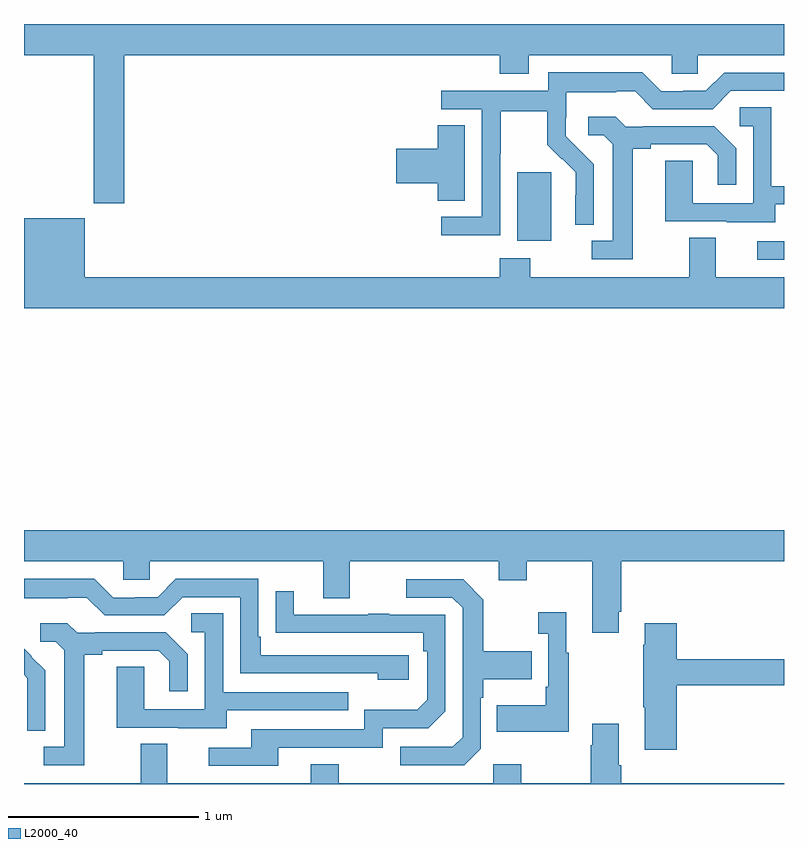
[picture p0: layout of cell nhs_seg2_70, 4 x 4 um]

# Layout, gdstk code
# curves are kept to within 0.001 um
import gdstk
lib = gdstk.Library(unit=1e-6, precision=1e-09)
def R(c, l, rs):  # rectangles x0, y0, x1, y1
    for r in rs: c.add(gdstk.rectangle(r[:2], r[2:], *l))
def P(c, l, *ps):  # polygons
    for p in ps: c.add(gdstk.Polygon(p, *l))
L2000_40 = (2000, 40)

nhs_seg2_70 = lib.new_cell('nhs_seg2_70')
R(nhs_seg2_70, L2000_40, [(116.859,646.56,117,646.656), (115.595,646.658,115.774,647.019)])
P(nhs_seg2_70, L2000_40, [(113.528,647.636),(115.505,647.636),(115.505,647.537),(115.657,647.537),(115.657,647.636),(116.409,647.636),(116.409,647.538),(116.547,647.538),(116.547,647.636),(117,647.636),(117,647.8),(113,647.8),(113,647.636),(113.368,647.636),(113.368,646.857),(113.528,646.857)],
  [(115.506,647.116),(115.509,647.116),(115.509,647.34),(115.753,647.34),(115.753,647.165),(115.83,647.088),(115.833,647.091),(115.904,647.021),(115.904,646.898),(115.902,646.898),(115.902,646.744),(115.998,646.744),(115.998,647.062),(115.852,647.21),(115.852,647.307),(115.854,647.307),(115.854,647.441),(116.117,647.441),(116.117,647.445),(116.217,647.445),(116.31,647.352),(116.625,647.352),(116.721,647.448),(117,647.448),(117,647.544),(116.685,647.544),(116.589,647.448),(116.471,647.448),(116.471,647.445),(116.355,647.445),(116.255,647.545),(115.758,647.545),(115.758,647.448),(115.197,647.448),(115.197,647.352),(115.41,647.352),(115.41,646.785),(115.197,646.785),(115.197,646.687),(115.506,646.687)],
  [(116.953,646.851),(117,646.851),(117,646.947),(116.934,646.947),(116.934,647.363),(116.766,647.363),(116.766,647.262),(116.838,647.262),(116.838,646.857),(116.52,646.857),(116.52,647.081),(116.375,647.081),(116.375,646.761),(116.699,646.761),(116.699,646.757),(116.953,646.757)],
  [(116.203,647.144),(116.299,647.144),(116.299,647.166),(116.594,647.166),(116.651,647.109),(116.651,646.953),(116.748,646.953),(116.748,647.146),(116.632,647.262),(116.26,647.262),(116.26,647.259),(116.166,647.259),(116.114,647.311),(115.971,647.311),(115.971,647.214),(116.052,647.214),(116.099,647.167),(116.099,646.659),(115.989,646.659),(115.989,646.563),(116.203,646.563)],
  [(115.321,647.267),(115.178,647.267),(115.178,647.144),(114.96,647.144),(114.96,646.961),(115.178,646.961),(115.178,646.87),(115.321,646.87)],
  [(117,646.468),(116.641,646.468),(116.641,646.676),(116.501,646.676),(116.501,646.468),(115.665,646.468),(115.665,646.567),(115.505,646.567),(115.505,646.468),(113.32,646.468),(113.32,646.777),(113,646.777),(113,646.304),(117,646.304)],
  [(116.131,644.707),(116.144,644.707),(116.144,644.972),(117,644.972),(117,645.136),(113,645.136),(113,644.972),(113.523,644.972),(113.523,644.874),(113.661,644.874),(113.661,644.972),(114.575,644.972),(114.575,644.778),(114.715,644.778),(114.715,644.972),(115.499,644.972),(115.499,644.873),(115.647,644.873),(115.647,644.972),(115.991,644.972),(115.991,644.595),(116.131,644.595)],
  [(115.024,644.478),(114.247,644.478),(114.247,644.575),(114.234,644.575),(114.234,644.88),(113.799,644.88),(113.703,644.784),(113.585,644.784),(113.585,644.781),(113.469,644.781),(113.369,644.881),(113,644.881),(113,644.777),(113.231,644.777),(113.231,644.781),(113.331,644.781),(113.424,644.688),(113.739,644.688),(113.835,644.784),(114.138,644.784),(114.138,644.382),(114.863,644.382),(114.863,644.348),(115.024,644.348)],
  [(115.404,643.986),(115.404,644.255),(115.417,644.255),(115.417,644.351),(115.673,644.351),(115.673,644.499),(115.417,644.499),(115.417,644.771),(115.311,644.877),(115.011,644.877),(115.011,644.781),(115.254,644.781),(115.308,644.727),(115.308,644.046),(115.257,643.995),(114.981,643.995),(114.981,643.899),(115.317,643.899)],
  [(114.337,643.992),(114.888,643.992),(114.888,644.094),(115.128,644.094),(115.218,644.184),(115.218,644.691),(114.923,644.691),(114.923,644.696),(114.811,644.696),(114.811,644.691),(114.421,644.691),(114.421,644.815),(114.325,644.815),(114.325,644.596),(115.102,644.595),(115.102,644.498),(115.122,644.498),(115.122,644.244),(115.069,644.191),(114.792,644.191),(114.792,644.088),(114.197,644.088),(114.197,643.992),(113.973,643.992),(113.973,643.896),(114.337,643.896)],
  [(115.867,644.491),(115.855,644.491),(115.855,644.704),(115.707,644.704),(115.707,644.591),(115.758,644.591),(115.758,644.311),(115.746,644.311),(115.746,644.215),(115.489,644.215),(115.489,644.075),(115.867,644.075)],
  [(114.067,644.187),(114.707,644.187),(114.707,644.283),(114.048,644.283),(114.048,644.699),(113.88,644.699),(113.88,644.598),(113.952,644.598),(113.952,644.193),(113.634,644.193),(113.634,644.417),(113.489,644.417),(113.489,644.097),(113.813,644.097),(113.813,644.093),(114.067,644.093)],
  [(113.317,644.48),(113.413,644.48),(113.413,644.502),(113.708,644.502),(113.765,644.445),(113.765,644.289),(113.862,644.289),(113.862,644.482),(113.746,644.598),(113.374,644.598),(113.374,644.595),(113.28,644.595),(113.228,644.647),(113.085,644.647),(113.085,644.55),(113.166,644.55),(113.213,644.503),(113.213,643.995),(113.103,643.995),(113.103,643.899),(113.317,643.899)],
  [(116.435,644.32),(117,644.32),(117,644.456),(116.435,644.456),(116.435,644.647),(116.267,644.647),(116.267,644.534),(116.26,644.534),(116.26,644.203),(116.267,644.203),(116.267,643.98),(116.435,643.98)],
  [(113.112,644.398),(113.039,644.471),(113.04,644.472),(113,644.512),(113,644.375),(113.018,644.357),(113.018,644.234),(113.016,644.234),(113.016,644.08),(113.112,644.08)],
  [(117,643.804),(116.144,643.804),(116.144,643.9),(116.131,643.9),(116.131,644.116),(115.991,644.116),(115.991,644.003),(115.984,644.003),(115.984,643.804),(115.617,643.804),(115.617,643.903),(115.47,643.903),(115.47,643.804),(114.657,643.804),(114.657,643.903),(114.509,643.903),(114.509,643.804),(113.755,643.804),(113.755,644.012),(113.615,644.012),(113.615,643.804),(113,643.804),(113,643.8),(117,643.8)])

lib.write_gds('nhs_seg2_70.gds')
